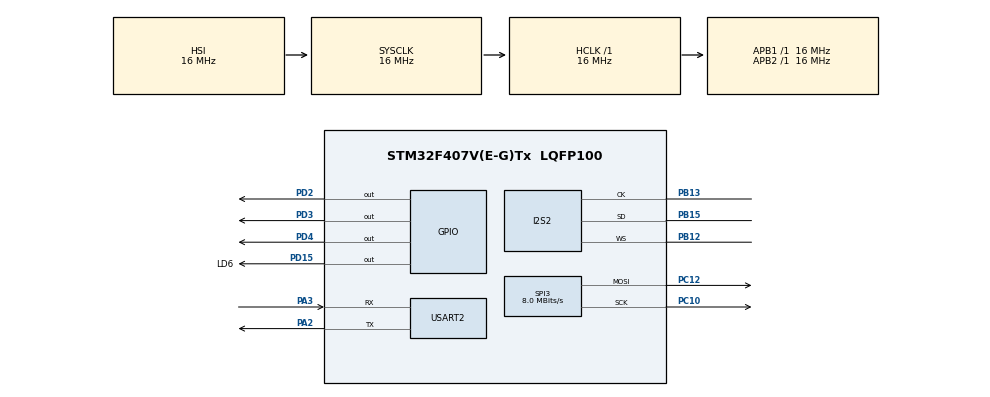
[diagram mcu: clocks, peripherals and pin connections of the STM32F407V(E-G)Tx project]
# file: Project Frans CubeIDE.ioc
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Mcu.Family=STM32F4
I2S2.AudioFreq=I2S_AUDIOFREQ_48K
RCC.CortexFreq_Value=16000000
SPI3.Direction=SPI_DIRECTION_2LINES
PD15.GPIO_Label=LD6
SPI3.VirtualType=VM_MASTER
I2S2.Instance=SPI$Index
PC12.Signal=SPI3_MOSI
PC10.Signal=SPI3_SCK
PD3.Signal=GPIO_Output
PC10.Mode=TX_Only_Simplex_Unidirect_Master
I2S2.CPOL=I2S_CPOL_LOW
PB15.Signal=I2S2_SD
PB13.Signal=I2S2_CK
ProjectManager.StackSize=0x400
PA3.Mode=Asynchronous
<<<<<<< HEAD
Mcu.Name=STM32F407V(E-G)Tx
Mcu.Package=LQFP100
=======
ProjectManager.TargetToolchain=STM32CubeIDE
PD4.Signal=GPIO_Output
I2S2.VirtualMode=I2S_MODE_SLAVE
>>>>>>> origin/laurensBranch
RCC.LSE_VALUE=32768
RCC.AHBFreq_Value=16000000
RCC.HSE_VALUE=25000000
PC12.Mode=TX_Only_Simplex_Unidirect_Master
board=custom
RCC.VCOOutputFreq_Value=192000000
<<<<<<< HEAD
PA2.Mode=Asynchronous
PA2.Signal=USART2_TX
PA3.Mode=Asynchronous
PA3.Signal=USART2_RX
PB12.Mode=Half_Duplex_Slave
PB12.Signal=I2S2_WS
PB13.Mode=Half_Duplex_Slave
PB13.Signal=I2S2_CK
=======
>>>>>>> origin/laurensBranch
PB15.Mode=Half_Duplex_Slave
RCC.APB2Freq_Value=16000000
SPI3.CalculateBaudRate=8.0 MBits/s
I2S2.DataFormat=I2S_DATAFORMAT_24B
Mcu.Name=STM32F407V(E-G)Tx
PA2.Signal=USART2_TX
<<<<<<< HEAD
RCC.AHBFreq_Value=16000000
RCC.APB1Freq_Value=16000000
RCC.APB2Freq_Value=16000000
RCC.CortexFreq_Value=16000000
RCC.HSE_VALUE=25000000
RCC.HSI_VALUE=16000000
RCC.LSE_VALUE=32768
=======
I2S2.FullDuplexMode=I2S_FULLDUPLEXMODE_DISABLE
>>>>>>> origin/laurensBranch
RCC.SYSCLKFreq_VALUE=16000000
Mcu.Package=LQFP100
PB12.Mode=Half_Duplex_Slave
I2S2.ErrorAudioFreq=0.8 %
SPI3.Mode=SPI_MODE_MASTER
<<<<<<< HEAD
SPI3.VirtualType=VM_MASTER
USART2.VirtualMode=VM_ASYNC
=======
USART2.VirtualMode=VM_ASYNC
I2S2.Mode=I2S_MODE_SLAVE_RX
>>>>>>> origin/laurensBranch
ProjectManager.HeapSize=0x200
RCC.HSI_VALUE=16000000
NVIC.PriorityGroup=NVIC_PRIORITYGROUP_4
PA2.Mode=Asynchronous
PB13.Mode=Half_Duplex_Slave
PD2.Signal=GPIO_Output
RCC.APB1Freq_Value=16000000
I2S2.RealAudioFreq=48.387 KHz
I2S2.Standard=I2S_STANDARD_MSB
PD15.Signal=GPIO_Output
PB12.Signal=I2S2_WS
PA3.Signal=USART2_RX

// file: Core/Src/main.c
/* USER CODE BEGIN Header */
/**
 **************************
 * @file           : main.c
 * @brief          : Main program body
 **************************
 * @attention
 *
 * <h2><center>&copy; Copyright (c) 2020 STMicroelectronics.
 * All rights reserved.</center></h2>
 *
 * This software component is licensed by ST under BSD 3-Clause license,
 * the "License"; You may not use this file except in compliance with the
 * License. You may obtain a copy of the License at:
 *                        opensource.org/licenses/BSD-3-Clause
 *
 **************************
 */
/* USER CODE END Header */

#include "main.h"

/* USER CODE BEGIN Includes */
#include "stdio.h"
/* USER CODE END Includes */

I2S_HandleTypeDef hi2s2;

SPI_HandleTypeDef hspi3;

UART_HandleTypeDef huart2;

// 2d array first var = adress, second var = value
int ledArray[64][2] = {
		{0x08, 0x08},
		{0x08, 0x04},
		{0x08, 0x02},
		{0x08, 0x01},
		{0x07, 0x08},
		{0x07, 0x04},
		{0x07, 0x02},
		{0x07, 0x01},
		{0x06, 0x08},
		{0x06, 0x04},
		{0x06, 0x02},
		{0x06, 0x01},
		{0x05, 0x08},
		{0x05, 0x04},
		{0x05, 0x02},
		{0x05, 0x01},
		{0x04, 0x08},
		{0x04, 0x04},
		{0x04, 0x02},
		{0x04, 0x01},
		{0x03, 0x08},
		{0x03, 0x04},
		{0x03, 0x02},
		{0x03, 0x01},
		{0x02, 0x08},
		{0x02, 0x04},
		{0x02, 0x02},
		{0x02, 0x01},
		{0x01, 0x08},
		{0x01, 0x04},
		{0x01, 0x02},
		{0x01, 0x01},
		{0x08, 0x08},
		{0x08, 0x04},
		{0x08, 0x02},
		{0x08, 0x01},
		{0x07, 0x08},
		{0x07, 0x04},
		{0x07, 0x02},
		{0x07, 0x01},
		{0x06, 0x08},
		{0x06, 0x04},
		{0x06, 0x02},
		{0x06, 0x11},
		{0x05, 0x88},
		{0x05, 0x44},
		{0x05, 0x22},
		{0x05, 0x11},
		{0x04, 0x88},
		{0x04, 0x44},
		{0x04, 0x22},
		{0x04, 0x11},
		{0x03, 0x88},
		{0x03, 0x40},
		{0x03, 0x20},
		{0x03, 0x10},
		{0x02, 0x80},
		{0x02, 0x40},
		{0x02, 0x20},
		{0x02, 0x10},
		{0x01, 0x80},
		{0x01, 0x40},
		{0x01, 0x20},
		{0x01, 0x10}
};

/* USER CODE BEGIN PV */
uint8_t outputBuffer[4];

/* USER CODE END PV */

void SystemClock_Config(void);
static void MX_GPIO_Init(void);
static void MX_I2S2_Init(void);
static void MX_SPI3_Init(void);
static void MX_USART2_UART_Init(void);
/* USER CODE BEGIN PFP */
int _write(int file, char *ptr, int len)
{
	/* Implement your write code here, this is used by puts and printf for example */
	int i=0;
	for(i=0 ; i<len ; i++)
		ITM_SendChar((*ptr++));
	return len;
}

/* USER CODE END PFP */

int main(void)
{

	/* MCU Configuration--------------------------------------------------------*/

	/* Reset of all peripherals, Initializes the Flash interface and the Systick. */
	HAL_Init();

	/* Configure the system clock */
	SystemClock_Config();

	/* Initialize all configured peripherals */
	MX_GPIO_Init();
	MX_I2S2_Init();
	MX_SPI3_Init();
	MX_USART2_UART_Init();
	/* USER CODE BEGIN 2 */

	MAX_Init(); // setup the max7221 chips

	/* USER CODE END 2 */

	/* Infinite loop */
	/* USER CODE BEGIN WHILE */

	// main loop
	while (1)
	{
		/* USER CODE END WHILE */

		/* USER CODE BEGIN 3 */

		 //Toggle LED on chip to indicate that program is running
		HAL_GPIO_TogglePin(LD6_GPIO_Port,LD6_Pin);

		// run test for LedBar
		fillTest();

		// Frans add your own code here

	}
	/* USER CODE END 3 */
}

void SystemClock_Config(void)
{
	RCC_OscInitTypeDef RCC_OscInitStruct = {0};
	RCC_ClkInitTypeDef RCC_ClkInitStruct = {0};
	RCC_PeriphCLKInitTypeDef PeriphClkInitStruct = {0};

	/** Macro to configure the PLL multiplication factor
	 */
	__HAL_RCC_PLL_PLLM_CONFIG(16);
	/** Macro to configure the PLL clock source
	 */
	__HAL_RCC_PLL_PLLSOURCE_CONFIG(RCC_PLLSOURCE_HSI);
	/** Configure the main internal regulator output voltage
	 */
	__HAL_RCC_PWR_CLK_ENABLE();
	__HAL_PWR_VOLTAGESCALING_CONFIG(PWR_REGULATOR_VOLTAGE_SCALE1);
	/** Initializes the CPU, AHB and APB busses clocks
	 */
	RCC_OscInitStruct.OscillatorType = RCC_OSCILLATORTYPE_HSI;
	RCC_OscInitStruct.HSIState = RCC_HSI_ON;
	RCC_OscInitStruct.HSICalibrationValue = RCC_HSICALIBRATION_DEFAULT;
	RCC_OscInitStruct.PLL.PLLState = RCC_PLL_NONE;
	RCC_OscInitStruct.PLL.PLLSource = RCC_PLLSOURCE_HSI;
	if (HAL_RCC_OscConfig(&RCC_OscInitStruct) != HAL_OK)
	{
		Error_Handler();
	}
	/** Initializes the CPU, AHB and APB busses clocks
	 */
	RCC_ClkInitStruct.ClockType = RCC_CLOCKTYPE_HCLK|RCC_CLOCKTYPE_SYSCLK
			|RCC_CLOCKTYPE_PCLK1|RCC_CLOCKTYPE_PCLK2;
	RCC_ClkInitStruct.SYSCLKSource = RCC_SYSCLKSOURCE_HSI;
	RCC_ClkInitStruct.AHBCLKDivider = RCC_SYSCLK_DIV1;
	RCC_ClkInitStruct.APB1CLKDivider = RCC_HCLK_DIV1;
	RCC_ClkInitStruct.APB2CLKDivider = RCC_HCLK_DIV1;

	if (HAL_RCC_ClockConfig(&RCC_ClkInitStruct, FLASH_LATENCY_0) != HAL_OK)
	{
		Error_Handler();
	}
	PeriphClkInitStruct.PeriphClockSelection = RCC_PERIPHCLK_I2S;
	PeriphClkInitStruct.PLLI2S.PLLI2SN = 192;
	PeriphClkInitStruct.PLLI2S.PLLI2SR = 2;
	if (HAL_RCCEx_PeriphCLKConfig(&PeriphClkInitStruct) != HAL_OK)
	{
		Error_Handler();
	}
}

static void MX_I2S2_Init(void)
{

	hi2s2.Instance = SPI2;
	hi2s2.Init.Mode = I2S_MODE_SLAVE_RX;
	hi2s2.Init.Standard = I2S_STANDARD_MSB;
	hi2s2.Init.DataFormat = I2S_DATAFORMAT_24B;
	hi2s2.Init.MCLKOutput = I2S_MCLKOUTPUT_DISABLE;
	hi2s2.Init.AudioFreq = I2S_AUDIOFREQ_48K;
	hi2s2.Init.CPOL = I2S_CPOL_LOW;
	hi2s2.Init.ClockSource = I2S_CLOCK_PLL;
	hi2s2.Init.FullDuplexMode = I2S_FULLDUPLEXMODE_DISABLE;
	if (HAL_I2S_Init(&hi2s2) != HAL_OK)
	{
		Error_Handler();
	}

}

static void MX_SPI3_Init(void)
{

	/* SPI3 parameter configuration*/
	hspi3.Instance = SPI3;
	hspi3.Init.Mode = SPI_MODE_MASTER;
	hspi3.Init.Direction = SPI_DIRECTION_2LINES;
	hspi3.Init.DataSize = SPI_DATASIZE_8BIT;
	hspi3.Init.CLKPolarity = SPI_POLARITY_LOW;
	hspi3.Init.CLKPhase = SPI_PHASE_1EDGE;
	hspi3.Init.NSS = SPI_NSS_SOFT;
	hspi3.Init.BaudRatePrescaler = SPI_BAUDRATEPRESCALER_2;
	hspi3.Init.FirstBit = SPI_FIRSTBIT_MSB;
	hspi3.Init.TIMode = SPI_TIMODE_DISABLE;
	hspi3.Init.CRCCalculation = SPI_CRCCALCULATION_DISABLE;
	hspi3.Init.CRCPolynomial = 10;
	if (HAL_SPI_Init(&hspi3) != HAL_OK)
	{
		Error_Handler();
	}

}

static void MX_USART2_UART_Init(void)
{

	huart2.Instance = USART2;
	huart2.Init.BaudRate = 115200;
	huart2.Init.WordLength = UART_WORDLENGTH_8B;
	huart2.Init.StopBits = UART_STOPBITS_1;
	huart2.Init.Parity = UART_PARITY_NONE;
	huart2.Init.Mode = UART_MODE_TX_RX;
	huart2.Init.HwFlowCtl = UART_HWCONTROL_NONE;
	huart2.Init.OverSampling = UART_OVERSAMPLING_16;
	if (HAL_UART_Init(&huart2) != HAL_OK)
	{
		Error_Handler();
	}

}

static void MX_GPIO_Init(void)
{
	GPIO_InitTypeDef GPIO_InitStruct = {0};

	/* GPIO Ports Clock Enable */
	__HAL_RCC_GPIOA_CLK_ENABLE();
	__HAL_RCC_GPIOB_CLK_ENABLE();
	__HAL_RCC_GPIOD_CLK_ENABLE();
	__HAL_RCC_GPIOC_CLK_ENABLE();

	/*Configure GPIO pin Output Level */
	HAL_GPIO_WritePin(GPIOD, LD6_Pin|GPIO_PIN_2|GPIO_PIN_3|GPIO_PIN_4, GPIO_PIN_RESET);

	/*Configure GPIO pins : LD6_Pin PD2 PD3 PD4 */
	GPIO_InitStruct.Pin = LD6_Pin|GPIO_PIN_2|GPIO_PIN_3|GPIO_PIN_4;
	GPIO_InitStruct.Mode = GPIO_MODE_OUTPUT_PP;
	GPIO_InitStruct.Pull = GPIO_NOPULL;
	GPIO_InitStruct.Speed = GPIO_SPEED_FREQ_LOW;
	HAL_GPIO_Init(GPIOD, &GPIO_InitStruct);

}

/* USER CODE BEGIN 4 */

// PIN Layout
// GPIOD 2 = load, GPIOD 3 = clk, GPIOD 4 = data

// uses SPI interface to send a single byte
void write_byte (uint8_t byte)
{
	// for 8 bits
	for (int i =0; i<8; i++)
	{
		// pull the clock pin low
		HAL_GPIO_WritePin (GPIOD, GPIO_PIN_3, 0);
		// write the MSB bit to the data pin
		HAL_GPIO_WritePin (GPIOD, GPIO_PIN_4, byte&0x80);
		// shift left
		byte = byte<<1;
		// pull the clock pin HIGH
		HAL_GPIO_WritePin (GPIOD, GPIO_PIN_3, 1);
	}
}

// sends 4 bytes to the 2 MAX chips
void write_max(uint8_t upperAddress, uint8_t upperValue, uint8_t lowerAddress, uint8_t lowerValue)
{
	// pull the CS pin LOW
	HAL_GPIO_WritePin(GPIOD, GPIO_PIN_2, 0);

	// Send the register address & value
	write_byte(upperAddress);
	write_byte(upperValue);
	write_byte(lowerAddress);
	write_byte(lowerValue);

	// pull the CS pin HIGH
	HAL_GPIO_WritePin(GPIOD, GPIO_PIN_2, 1);
}

// clears the LedBar
void clearDisplay()
{
	// loops trough each adress form 0x0 to 0x8
	for (int i = 0x0; i <= 0x8; i++) {
		// on the given adress i write zero
		write_max(i, 0x00, i, 0x00);
	}
}

// function that enables the leds
void enableLed(int offset, int led){
	// variable
	int Address = 0; int Data = 0;

	// checks leds in segments of 4 leds each
	for (int i = 0; i < led + 1; i++){
		// if peak led is found put value of peak led in Data variable

		// OR operation on new adress and old adress
		Address = Address | ledArray[i + offset * 4][0];

		// OR operation on new Data and old Data so multiple leds can be turned on at the same time
		Data = Data | ledArray[i + offset * 4][1];
	}

	// first max chip
	if (offset < 8){
		write_max(0, 0, Address, Data);
	}
	// second max chip
	else{
		write_max(Address, Data, 0, 0);
	}
}

// set the peak led on LedBar
void enablePeak(int peak){
	peak--;
	int setData = peak % 4, newData = 0;

	// decide which datapacket to use
	switch(setData){
	case 0:
		newData = 0x80;
		break;
	case 1:
		newData = 0x40;
		break;
	case 2:
		newData = 0x20;
		break;
	case 3:
		newData = 0x10;
		break;
	}

	// decide which shiftregister to use
	if (peak < 32){
		write_max(0, 0x00, ledArray[peak][0], newData);
	}
	else{
		write_max(ledArray[peak][0], newData, 0 , 0 );
	}
}

// sets the led bar
void fillBarTo(int average, int peak) {
	// Prevent glitches when too high values are sent to ledbar
	if (average > 64){
		average = 64;
	}
	if (peak > 64){
		peak = 64;
	}

	// for good practice clear led bar
	clearDisplay();
	// loop trough each number until average led is reached
	for (int i = 0; i < average; i++) {
		// calculate offset & rest value
		int offset = i / 4;
		int restValue = i % 4;

		// lower part of LedBar
		if (i <= 32){
			enableLed(offset, restValue);
		}
		// higher part of LedBar
		else {
			enableLed(offset, restValue);
		}
	}
	// set peak led
	enablePeak(peak);
}

// test function
void fillTest() {
	// generate random number
	int random = rand() % 65;
	// get peak number
	int peak = random + 5;
	// Fill the led-bar to this number (between 1 and 64)
	fillBarTo(random, peak);
	HAL_Delay(100);

/*
	for (int i = 0; i < 65; i++){
		enablePeak(i);
		HAL_Delay(100);
	}
*/
}

// setup for the MAX chips
void MAX_Init()
{
	write_max(0x09, 0x00, 0x09, 0x00);       //  no decoding
	write_max(0x0a, 0x0A, 0x0a, 0x0A);       //  brightness intensity
	write_max(0x0b, 0x07, 0x0b, 0x07);       //  scan limit = 8 LEDs
	write_max(0x0c, 0x01, 0x0c, 0x01);       //  power down =0,normal mode = 1
	write_max(0x0f, 0x00, 0x0f, 0x00);       //  no test display

	// clear LedBar
	clearDisplay();
}

// read I2S data
static uint32_t I2SReadData(void)
{
	uint32_t value = 0;

	int result = HAL_I2S_Receive(&hi2s2, &readAudioData, 2, 100);

	if (result == HAL_OK)
	{
		value = 1; // yaay
	}
	else
	{
		value = 0; // naay
		printf("fail, errorcode = %d\n", result);
	}
	return value;
}

void printBits(size_t const size, void const * const ptr)
{
	unsigned char *b = (unsigned char*) ptr;
	unsigned char byte;
	int i, j;

	for (i=size-1;i>=0;i--)
	{
		for (j=7;j>=0;j--)
		{
			byte = (b[i] >> j) & 1;
			printf("%u", byte);
		}
	}
	puts("");
	printf("\n");
}
/* USER CODE END 4 */

void Error_Handler(void)
{
}

/************************ (C) COPYRIGHT STMicroelectronics *****END OF FILE****/
